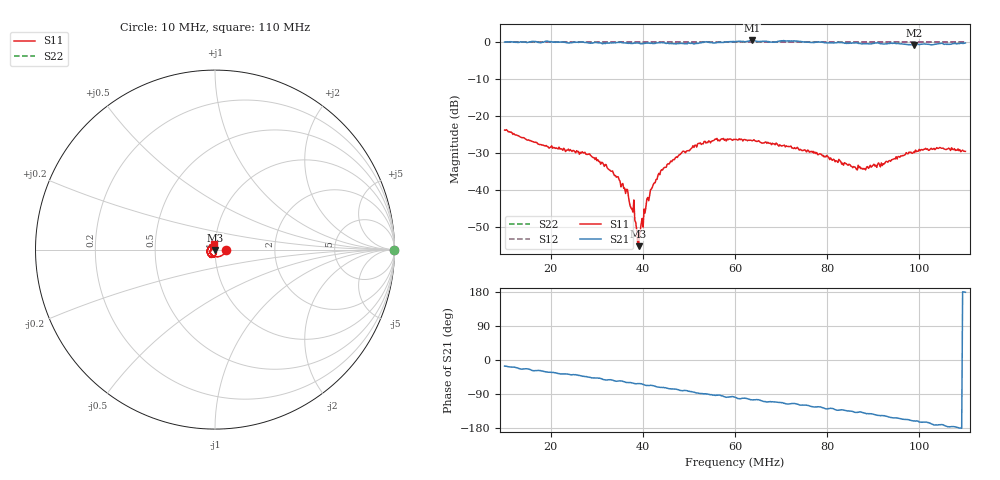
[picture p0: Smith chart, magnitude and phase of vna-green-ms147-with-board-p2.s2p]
! Anritsu VNA Master:  Model: MS2034B/10/19/501
! SN:  1337062
! /bd0/ovro-jan-2016/vna-jan/vna-ms147-with-board-p2.s2p
! Existing Calibration Information:
! TYPE:  Current Settings,  Active Cal Settings
! TIME:  01/13/2016 12:39:31 PM,  01/12/2016 05:57:47 PM
! INTERNAL TEMP:  43.8 C,  46.0 C
! # POINTS:  500,  500
! START FREQ:  10.000 MHz,  10.000 MHz
! STOP FREQ:  110.000 MHz,  110.000 MHz
! SOURCE POWER:  Low,  Low
! IFBW:  100 Hz,  1 kHz
! AVG FACTOR:  1 ,  3
! REF PLANE 1:  0 mm,  0 mm
! REF PLANE 2:  0 mm,  0 mm
! CAL TYPE:  1P2P S11,S21,  1P2P S11,S21
! CAL METHOD:  SOLT,  SOLT
! CAL LINE TYPE:  Coax,  Coax
! DUT PORT 1:  K-Conn(M),  K-Conn(M)
! DUT PORT 2:  N-Conn(M),  N-Conn(M)
! CAL STATUS:  OK: Accuracy High,  --
# GHZ S DB R 50.0
! FREQ.GHZ  S11DB  S11A  S21DB  S21A  S12DB  S12A  S22DB  S22A
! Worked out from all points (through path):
!   500 points, 10 MHz to 110 MHz, reference 50 ohm
!   highest |S21| = 0.35 dB at 63.71 MHz (marker M1); lowest = -0.8 dB at 98.78 MHz (marker M2)
!   group delay of S21, straight-line fit = 4.49 ns
!   lowest |S11| = -55.2 dB at 39.06 MHz (marker M3), VSWR 1.00, Z = 49.9 - j0.144 ohm
!   |S11| at or under -10 dB: start of sweep to end of sweep
!   |S22| runs from 0.0 to 0.0 dB; largest |S21 - S12| = 2
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0.01  -23.86 -3.0  -0.07 -16.0  0.00 0.0  0.00 0.0
0.01961924  -28.74 -93.7  0.03 -32.2  0.00 0.0  0.00 0.0
0.02683367  -29.71 -147.5  -0.10 -42.2  0.00 0.0  0.00 0.0
0.03164329  -33.67 -177.8  -0.41 -52.0  0.00 0.0  0.00 0.0
0.0346493  -36.50 169.7  -0.12 -55.8  0.00 0.0  0.00 0.0
0.03645291  -39.89 163.6  -0.36 -59.4  0.00 0.0  0.00 0.0
0.03765531  -45.29 174.3  -0.47 -60.4  0.00 0.0  0.00 0.0
0.03825651  -48.29 179.6  -0.35 -62.4  0.00 0.0  0.00 0.0
0.03865731  -50.76 -156.0  -0.30 -62.7  0.00 0.0  0.00 0.0
0.03905812  -55.23 -123.4  -0.36 -62.2  0.00 0.0  0.00 0.0
0.04126253  -42.95 -63.6  -0.36 -67.4  0.00 0.0  0.00 0.0
0.04346693  -35.57 -65.4  -0.22 -71.8  0.00 0.0  0.00 0.0
0.04847695  -29.90 -87.0  -0.46 -81.0  0.00 0.0  0.00 0.0
0.05228457  -27.50 -100.2  -0.32 -88.3  0.00 0.0  0.00 0.0
0.0601002  -26.37 -135.6  0.03 -98.7  0.00 0.0  0.00 0.0
0.06370742  -26.77 -153.9  0.35 -105.2  0.00 0.0  0.00 0.0
0.07292585  -28.60 155.9  0.25 -114.7  0.00 0.0  0.00 0.0
0.07673347  -29.82 139.5  -0.21 -123.1  0.00 0.0  0.00 0.0
0.0861523  -33.94 135.4  -0.28 -138.4  0.00 0.0  0.00 0.0
0.09336673  -32.21 157.2  -0.46 -150.5  0.00 0.0  0.00 0.0
0.09877756  -29.75 152.8  -0.84 -161.0  0.00 0.0  0.00 0.0
0.11  -29.62 102.7  -0.34 178.8  0.00 0.0  0.00 0.0
